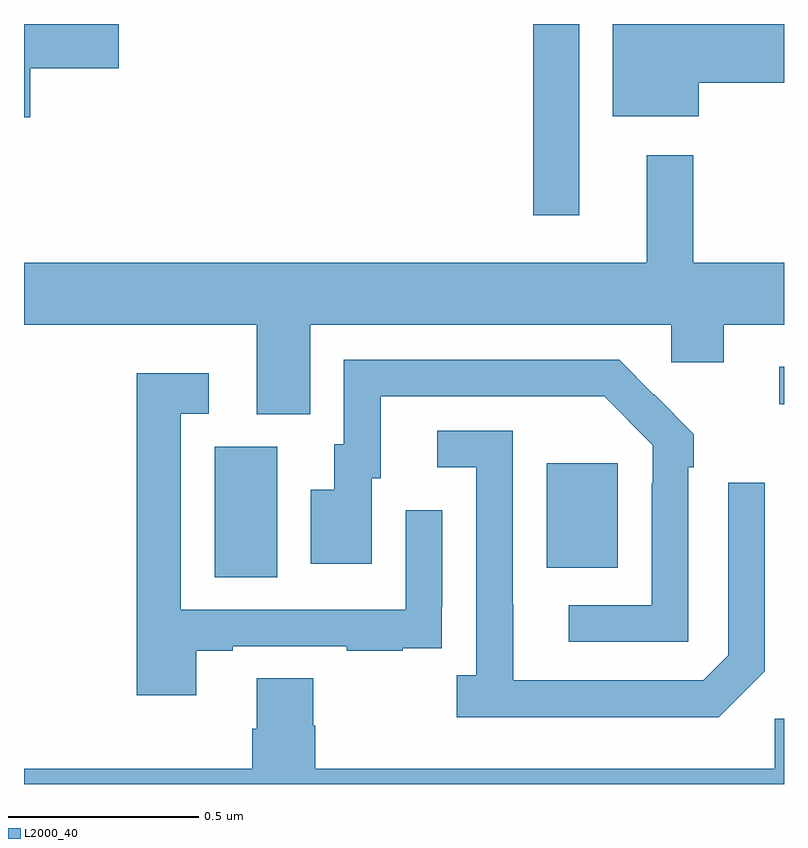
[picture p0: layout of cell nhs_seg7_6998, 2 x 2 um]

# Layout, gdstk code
import gdstk
lib = gdstk.Library(unit=1e-6, precision=1e-09)
def R(c, l, rs):  # rectangles x0, y0, x1, y1
    for r in rs: c.add(gdstk.rectangle(r[:2], r[2:], *l))
def P(c, l, *ps):  # polygons
    for p in ps: c.add(gdstk.Polygon(p, *l))
L2000_40 = (2000, 40)

nhs_seg7_6998 = lib.new_cell('nhs_seg7_6998')
R(nhs_seg7_6998, L2000_40, [(205.502,1074.544,205.666,1074.888), (206.375,1074.569,206.563,1074.844), (206.988,1075,207,1075.098), (206.34,1075.497,206.461,1076)])
P(nhs_seg7_6998, L2000_40, [(205.016,1075.883),(205.249,1075.883),(205.249,1076),(205,1076),(205,1075.755),(205.016,1075.755)],
  [(206.776,1075.846),(207,1075.846),(207,1076),(206.549,1076),(206.549,1075.757),(206.776,1075.757)],
  [(205.753,1075.208),(206.703,1075.208),(206.703,1075.11),(206.842,1075.11),(206.842,1075.208),(207,1075.208),(207,1075.372),(206.761,1075.372),(206.761,1075.654),(206.639,1075.654),(206.639,1075.372),(205,1075.372),(205,1075.208),(205.613,1075.208),(205.613,1074.973),(205.753,1074.973)],
  [(206.748,1074.833),(206.763,1074.833),(206.763,1074.921),(206.658,1075.026),(206.657,1075.025),(206.566,1075.116),(205.842,1075.116),(205.842,1074.894),(205.817,1074.894),(205.817,1074.775),(205.754,1074.775),(205.754,1074.579),(205.915,1074.579),(205.915,1074.804),(205.939,1074.804),(205.939,1075.02),(206.527,1075.02),(206.655,1074.891),(206.655,1074.791),(206.652,1074.791),(206.652,1074.471),(206.433,1074.471),(206.433,1074.375),(206.748,1074.375)],
  [(205.453,1074.351),(205.549,1074.351),(205.549,1074.363),(205.849,1074.363),(205.849,1074.351),(205.997,1074.351),(205.997,1074.357),(206.099,1074.357),(206.099,1074.466),(206.1,1074.466),(206.1,1074.721),(206.004,1074.721),(206.004,1074.459),(205.413,1074.459),(205.413,1074.975),(205.486,1074.975),(205.486,1075.081),(205.297,1075.081),(205.297,1074.234),(205.453,1074.234)],
  [(206.949,1074.297),(206.949,1074.793),(206.853,1074.793),(206.853,1074.339),(206.787,1074.273),(206.287,1074.273),(206.287,1074.473),(206.286,1074.473),(206.286,1074.93),(206.088,1074.93),(206.088,1074.834),(206.19,1074.834),(206.19,1074.286),(206.139,1074.286),(206.139,1074.176),(206.828,1074.176)],
  [(207,1074.172),(206.976,1074.172),(206.976,1074.04),(205.766,1074.04),(205.766,1074.153),(205.761,1074.153),(205.761,1074.278),(205.613,1074.278),(205.613,1074.146),(205.601,1074.146),(205.601,1074.04),(205,1074.04),(205,1074),(207,1074)])

lib.write_gds('nhs_seg7_6998.gds')
